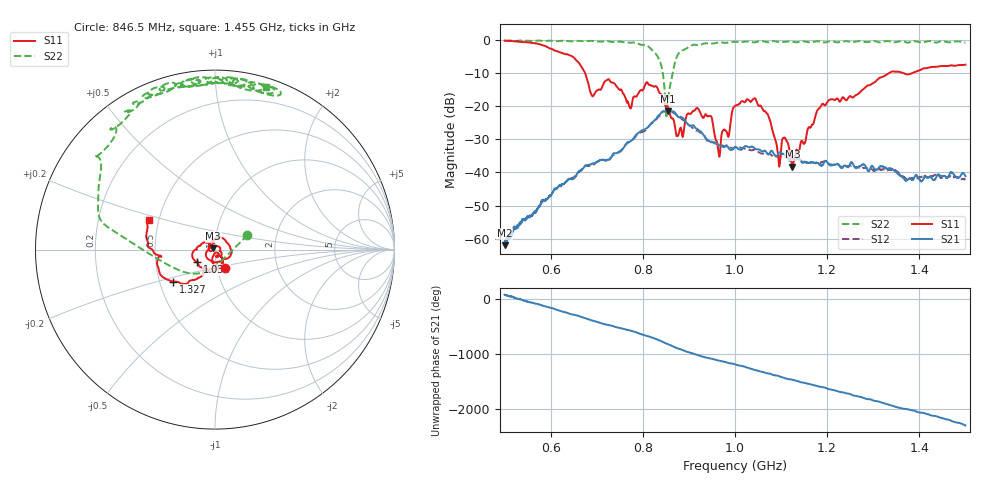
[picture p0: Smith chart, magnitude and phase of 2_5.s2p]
!Agilent Technologies,E8364B,US42250235,A.06.04.32
!Agilent E8364B: A.06.04.32
!Date: Thursday, October 01, 2020 11:15:14
!Correction: S11(Full 2 Port(1,2)) S21(Full 2 Port(1,2)) S12(Full 2 Port(1,2)) S22(Full 2 Port(1,2))
!S2P File: Measurements: S11, S21, S12, S22:
# Hz S  dB  R 50
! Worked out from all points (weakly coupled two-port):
!   2650 points, 500 MHz to 1.5 GHz, reference 50 ohm
!   highest |S21| = -21.47 dB at 854.1 MHz (marker M1); lowest = -61.9 dB at 500 MHz (marker M2)
!   lowest |S11| = -38.3 dB at 1.125 GHz (marker M3), VSWR 1.02, Z = 49 + j0.63 ohm
!   |S11| at or under -10 dB: 674.7 MHz to 1.334 GHz (659.7 MHz wide, 65.7 % of centre); 1.365 GHz to 1.385 GHz (19.33 MHz wide, 1.41 % of centre)
!   |S22| runs from -23.1 to -0.2 dB; largest |S21 - S12| = 0.016
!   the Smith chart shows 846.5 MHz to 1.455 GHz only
!   S11 on the Smith chart (normalised r, x): 846.5 MHz: 1.10, -0.23; 1.032 GHz: 0.81, -0.11; 1.327 GHz: 0.59, -0.23; 1.455 GHz: 0.44, +0.17
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5e8  -0.19 -175.4  -61.95 77.2  -61.55 76.0  -0.26 136.6
5.887127e8  -1.86 126.7  -48.30 -136.7  -48.34 -140.5  -0.35 128.4
6.668554e8  -8.15 59.7  -39.18 31.8  -39.33 25.2  -0.35 121.2
6.90638e8  -17.03 68.2  -37.26 -32.6  -37.71 -37.8  -0.31 118.1
7.238581e8  -11.90 79.0  -36.18 -111.9  -36.21 -116.2  -0.35 114.2
7.838807e8  -17.13 64.7  -28.85 118.8  -29.28 105.6  -0.83 97.7
8.337108e8  -15.24 -27.1  -22.80 -22.7  -23.21 -33.5  -5.41 49.2
8.465459e8  -18.70 -60.8  -21.57 -72.0  -21.66 -81.6  -14.02 24.6
8.540959e8  -20.28 -80.0  -21.47 -98.9  -21.72 -109.4  -19.00 -104.2
8.790109e8  -27.58 145.1  -23.35 176.4  -23.34 164.5  -3.87 166.7
9.186485e8  -20.61 -19.2  -26.92 63.7  -27.42 56.4  -1.61 139.0
9.473386e8  -22.96 -88.7  -30.81 -0.9  -30.56 -8.4  -1.14 128.5
9.643262e8  -33.95 -95.8  -31.68 -36.8  -31.83 -44.6  -0.79 121.9
1.000189e9  -19.91 -81.7  -32.27 -105.0  -32.43 -114.7  -0.57 119.0
1.031899e9  -18.44 -145.3  -32.41 -176.4  -33.20 171.1  -0.52 115.5
1.094941e9  -37.04 140.5  -34.14 43.6  -35.15 36.5  -0.61 107.9
1.124764e9  -38.26 148.2  -35.86 -23.8  -36.05 -29.4  -0.58 103.8
1.166667e9  -25.66 -48.8  -36.93 -112.4  -36.95 -118.0  -0.64 96.0
1.326727e9  -10.67 -142.6  -38.61 -100.7  -39.06 -106.3  -0.36 80.5
1.333522e9  -10.08 -147.6  -38.83 -114.3  -39.24 -120.4  -0.36 84.1
1.4547e9  -7.87 155.9  -41.01 -12.6  -41.39 -23.7  -0.45 72.6
1.5e9  -7.46 140.9  -41.13 -131.7  -42.22 -131.6  -0.73 61.4
